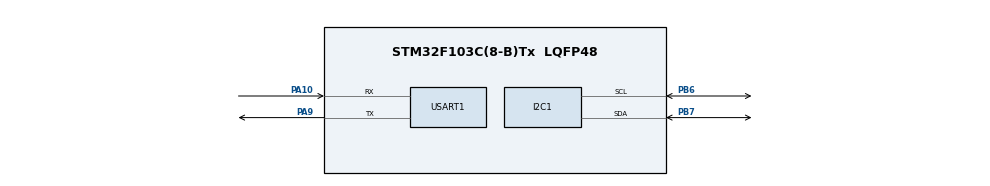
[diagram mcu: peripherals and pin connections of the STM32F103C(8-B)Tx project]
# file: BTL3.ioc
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Mcu.Family=STM32F1
Mcu.Name=STM32F103C(8-B)Tx
Mcu.Package=LQFP48
NVIC.PriorityGroup=NVIC_PRIORITYGROUP_4
PA10.Mode=Asynchronous
PA10.Signal=USART1_RX
PA9.Mode=Asynchronous
PA9.Signal=USART1_TX
PB6.Mode=I2C
PB6.Signal=I2C1_SCL
PB7.Mode=I2C
PB7.Signal=I2C1_SDA
ProjectManager.HeapSize=0x200
ProjectManager.StackSize=0x400
ProjectManager.TargetToolchain=MDK-ARM V5.32
RCC.APB1Freq_Value=8000000
RCC.APB2Freq_Value=8000000
USART1.VirtualMode=VM_ASYNC
VP_SYS_VS_ND.Mode=No_Debug
board=custom

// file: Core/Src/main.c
/* USER CODE BEGIN Header */
/**
  ******************************************************************************
  * @file           : main.c
  * @brief          : Main program body
  ******************************************************************************
  * @attention
  *
  * Copyright (c) 2024 STMicroelectronics.
  * All rights reserved.
  *
  * This software is licensed under terms that can be found in the LICENSE file
  * in the root directory of this software component.
  * If no LICENSE file comes with this software, it is provided AS-IS.
  *
  ******************************************************************************
  */
/* USER CODE END Header */
#include "main.h"
#include "stm32f1xx_hal.h"
#include <string.h>

I2C_HandleTypeDef hi2c1;

UART_HandleTypeDef huart1;

void SystemClock_Config(void);
static void MX_GPIO_Init(void);
static void MX_I2C1_Init(void);
static void MX_USART1_UART_Init(void);

/* USER CODE BEGIN 0 */
#define EEPROM_ADDRESS 0xA0
uint8_t day = 18;
uint8_t month = 3;
uint16_t year = 2024;
//uint8_t data_to_write = 50;

char data_to_read[20];
/* USER CODE END 0 */

int main(void)
{

  /* MCU Configuration--------------------------------------------------------*/

  /* Reset of all peripherals, Initializes the Flash interface and the Systick. */
  HAL_Init();

  /* Configure the system clock */
  SystemClock_Config();

  /* Initialize all configured peripherals */
  MX_GPIO_Init();
  MX_I2C1_Init();
  MX_USART1_UART_Init();
  /* USER CODE BEGIN 2 */
	uint8_t data_to_write[5];
	data_to_write[0] = day;
  data_to_write[1] = month;
  data_to_write[2] = (uint8_t)(year >> 8);  // High byte of year
  data_to_write[3] = (uint8_t)(year & 0xFF);
	HAL_I2C_Mem_Write(&hi2c1, EEPROM_ADDRESS, 0 , 0xFF, data_to_write, 4,10);
	HAL_Delay(10);

	uint8_t data_read[4];
	HAL_I2C_Mem_Read(&hi2c1, EEPROM_ADDRESS, 0, 0xFF, data_read, 4,10 );

	//show the data eeprom to uart
	day = data_read[0];
	month = data_read[1];
  year = ((uint16_t)data_read[2] << 8) | data_read[3];

	//sprintf(data_to_read, "%d \r\n", data_read);
	sprintf(data_to_read, "%02d/%02d/%04d\r\n", day, month, year);
  /* USER CODE END 2 */

  /* Infinite loop */
  while (1)
  {
		HAL_UART_Transmit(&huart1, (uint8_t*) data_to_read, strlen(data_to_read), 500);

		HAL_Delay(2000);
  }
}

void SystemClock_Config(void)
{
  RCC_OscInitTypeDef RCC_OscInitStruct = {0};
  RCC_ClkInitTypeDef RCC_ClkInitStruct = {0};

  /** Initializes the RCC Oscillators according to the specified parameters
  * in the RCC_OscInitTypeDef structure.
  */
  RCC_OscInitStruct.OscillatorType = RCC_OSCILLATORTYPE_HSI;
  RCC_OscInitStruct.HSIState = RCC_HSI_ON;
  RCC_OscInitStruct.HSICalibrationValue = RCC_HSICALIBRATION_DEFAULT;
  RCC_OscInitStruct.PLL.PLLState = RCC_PLL_NONE;
  if (HAL_RCC_OscConfig(&RCC_OscInitStruct) != HAL_OK)
  {
    Error_Handler();
  }

  /** Initializes the CPU, AHB and APB buses clocks
  */
  RCC_ClkInitStruct.ClockType = RCC_CLOCKTYPE_HCLK|RCC_CLOCKTYPE_SYSCLK
                              |RCC_CLOCKTYPE_PCLK1|RCC_CLOCKTYPE_PCLK2;
  RCC_ClkInitStruct.SYSCLKSource = RCC_SYSCLKSOURCE_HSI;
  RCC_ClkInitStruct.AHBCLKDivider = RCC_SYSCLK_DIV1;
  RCC_ClkInitStruct.APB1CLKDivider = RCC_HCLK_DIV1;
  RCC_ClkInitStruct.APB2CLKDivider = RCC_HCLK_DIV1;

  if (HAL_RCC_ClockConfig(&RCC_ClkInitStruct, FLASH_LATENCY_0) != HAL_OK)
  {
    Error_Handler();
  }
}

static void MX_I2C1_Init(void)
{

  hi2c1.Instance = I2C1;
  hi2c1.Init.ClockSpeed = 100000;
  hi2c1.Init.DutyCycle = I2C_DUTYCYCLE_2;
  hi2c1.Init.OwnAddress1 = 0;
  hi2c1.Init.AddressingMode = I2C_ADDRESSINGMODE_7BIT;
  hi2c1.Init.DualAddressMode = I2C_DUALADDRESS_DISABLE;
  hi2c1.Init.OwnAddress2 = 0;
  hi2c1.Init.GeneralCallMode = I2C_GENERALCALL_DISABLE;
  hi2c1.Init.NoStretchMode = I2C_NOSTRETCH_DISABLE;
  if (HAL_I2C_Init(&hi2c1) != HAL_OK)
  {
    Error_Handler();
  }

}

static void MX_USART1_UART_Init(void)
{

  huart1.Instance = USART1;
  huart1.Init.BaudRate = 115200;
  huart1.Init.WordLength = UART_WORDLENGTH_8B;
  huart1.Init.StopBits = UART_STOPBITS_1;
  huart1.Init.Parity = UART_PARITY_NONE;
  huart1.Init.Mode = UART_MODE_TX_RX;
  huart1.Init.HwFlowCtl = UART_HWCONTROL_NONE;
  huart1.Init.OverSampling = UART_OVERSAMPLING_16;
  if (HAL_UART_Init(&huart1) != HAL_OK)
  {
    Error_Handler();
  }

}

static void MX_GPIO_Init(void)
{

  /* GPIO Ports Clock Enable */
  __HAL_RCC_GPIOA_CLK_ENABLE();
  __HAL_RCC_GPIOB_CLK_ENABLE();

}

void Error_Handler(void)
{
  __disable_irq();
  while (1)
  {
  }
}
